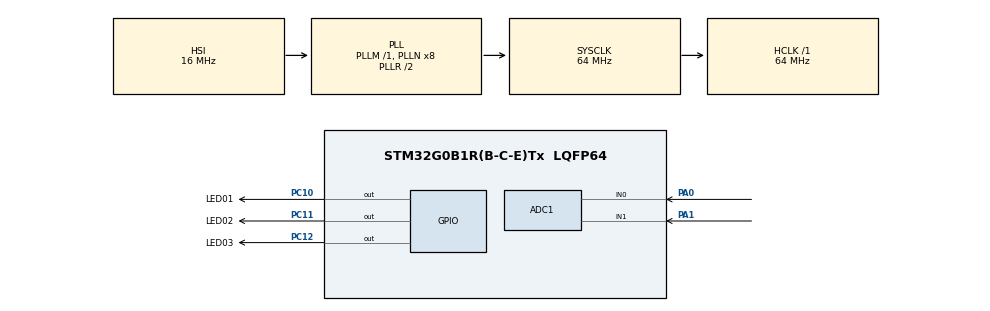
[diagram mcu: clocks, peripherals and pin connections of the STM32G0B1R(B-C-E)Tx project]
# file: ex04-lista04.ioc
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ADC1.Channel-3\#ChannelRegularConversion=ADC_CHANNEL_0
ADC1.Channel-4\#ChannelRegularConversion=ADC_CHANNEL_1
ADC1.EOCSelection=ADC_EOC_SINGLE_CONV
ADC1.NbrOfConversion=2
ADC1.NbrOfConversionFlag=1
ADC1.Rank-3\#ChannelRegularConversion=1
ADC1.Rank-4\#ChannelRegularConversion=2
ADC1.SamplingTime-3\#ChannelRegularConversion=ADC_SAMPLINGTIME_COMMON_1
ADC1.SamplingTime-4\#ChannelRegularConversion=ADC_SAMPLINGTIME_COMMON_1
ADC1.SamplingTimeCommon1=ADC_SAMPLETIME_19CYCLES_5
ADC1.SelectedChannel=ADC_CHANNEL_0|ADC_CHANNEL_1
ADC1.Sequencer=FULLY_CONFIGURABLE
ADC1.master=1
Mcu.Family=STM32G0
Mcu.Name=STM32G0B1R(B-C-E)Tx
Mcu.Package=LQFP64
PA0.Mode=IN0
PA0.Signal=ADC1_IN0
PA1.Mode=IN1
PA1.Signal=ADC1_IN1
PA13.Mode=Serial_Wire
PA13.Signal=SYS_SWDIO
PA14-BOOT0.Mode=Serial_Wire
PA14-BOOT0.Signal=SYS_SWCLK
PC10.GPIO_Label=LED01
PC10.PinState=GPIO_PIN_SET
PC10.Signal=GPIO_Output
PC11.GPIO_Label=LED02
PC11.PinState=GPIO_PIN_SET
PC11.Signal=GPIO_Output
PC12.GPIO_Label=LED03
PC12.PinState=GPIO_PIN_SET
PC12.Signal=GPIO_Output
ProjectManager.HeapSize=0x200
ProjectManager.StackSize=0x400
ProjectManager.TargetToolchain=STM32CubeIDE
RCC.ADCFreq_Value=64000000
RCC.AHBFreq_Value=64000000
RCC.CortexFreq_Value=64000000
RCC.EXTERNAL_CLOCK_VALUE=48000
RCC.HCLKFreq_Value=64000000
RCC.HSE_VALUE=8000000
RCC.HSI48_VALUE=48000000
RCC.HSI_VALUE=16000000
RCC.LSE_VALUE=32768
RCC.SYSCLKFreq_VALUE=64000000
RCC.SYSCLKSource=RCC_SYSCLKSOURCE_PLLCLK
RCC.USBFreq_Value=48000000
RCC.VCOOutputFreq_Value=128000000
VP_SYS_VS_DBSignals.Mode=DisableDeadBatterySignals
board=custom

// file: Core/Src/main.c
/* USER CODE BEGIN Header */
/**
  ******************************************************************************
  * @file           : main.c
  * @brief          : Main program body
  ******************************************************************************
  * @attention
  *
  * Copyright (c) 2022 STMicroelectronics.
  * All rights reserved.
  *
  * This software is licensed under terms that can be found in the LICENSE file
  * in the root directory of this software component.
  * If no LICENSE file comes with this software, it is provided AS-IS.
  *
  ******************************************************************************
  */
/* USER CODE END Header */
#include "main.h"

/* USER CODE BEGIN Includes */
#include <stdint.h>
/* USER CODE END Includes */

ADC_HandleTypeDef hadc1;

void SystemClock_Config(void);
static void MX_GPIO_Init(void);
static void MX_ADC1_Init(void);

/* USER CODE BEGIN 0 */
uint16_t pot, potavg;
uint32_t potsoma;
uint8_t i;
float volt, voltAvg;
/* USER CODE END 0 */

int main(void)
{

  /* MCU Configuration--------------------------------------------------------*/

  /* Reset of all peripherals, Initializes the Flash interface and the Systick. */
  HAL_Init();

  /* Configure the system clock */
  SystemClock_Config();

  /* Initialize all configured peripherals */
  MX_GPIO_Init();
  MX_ADC1_Init();
  /* USER CODE BEGIN 2 */
  potsoma = 0;
  i = 0;
  /* USER CODE END 2 */

  /* Infinite loop */
  /* USER CODE BEGIN WHILE */
  while (1)
  {
	  //iniciando conversão
	  HAL_ADC_Start(&hadc1);

	  //tempo de espera para completar ciclo
	  HAL_ADC_PollForConversion(&hadc1, 1);

	  pot = HAL_ADC_GetValue(&hadc1);

	  //tempo de espera para completar ciclo
	  HAL_ADC_PollForConversion(&hadc1, 1);

	  potsoma += HAL_ADC_GetValue(&hadc1);
	  i++;

	  if (i >= 50)//10
	  {
		  potavg = potsoma/i;
		  voltAvg = 3.3/4095.0 * potavg;
		  i = 0;
		  potsoma = 0;
	  }

	  volt = 3.3 / 4095.0 * pot;

	  if(volt <= 1)
		  HAL_GPIO_WritePin(LED01_GPIO_Port, LED01_Pin, 0);
	  else
		  HAL_GPIO_WritePin(LED01_GPIO_Port, LED01_Pin, 1);
	  if(volt > 1 && volt <3)
		  HAL_GPIO_WritePin(LED02_GPIO_Port, LED02_Pin, 0);
	  else
	 	 HAL_GPIO_WritePin(LED02_GPIO_Port, LED02_Pin, 1);
	  if(volt > 3)
		  HAL_GPIO_WritePin(LED03_GPIO_Port, LED03_Pin, 0);
	  else
		  HAL_GPIO_WritePin(LED03_GPIO_Port, LED03_Pin, 1);

    /* USER CODE END WHILE */

  }
}

void SystemClock_Config(void)
{
  RCC_OscInitTypeDef RCC_OscInitStruct = {0};
  RCC_ClkInitTypeDef RCC_ClkInitStruct = {0};

  /** Configure the main internal regulator output voltage
  */
  HAL_PWREx_ControlVoltageScaling(PWR_REGULATOR_VOLTAGE_SCALE1);
  /** Initializes the RCC Oscillators according to the specified parameters
  * in the RCC_OscInitTypeDef structure.
  */
  RCC_OscInitStruct.OscillatorType = RCC_OSCILLATORTYPE_HSI;
  RCC_OscInitStruct.HSIState = RCC_HSI_ON;
  RCC_OscInitStruct.HSIDiv = RCC_HSI_DIV1;
  RCC_OscInitStruct.HSICalibrationValue = RCC_HSICALIBRATION_DEFAULT;
  RCC_OscInitStruct.PLL.PLLState = RCC_PLL_ON;
  RCC_OscInitStruct.PLL.PLLSource = RCC_PLLSOURCE_HSI;
  RCC_OscInitStruct.PLL.PLLM = RCC_PLLM_DIV1;
  RCC_OscInitStruct.PLL.PLLN = 8;
  RCC_OscInitStruct.PLL.PLLP = RCC_PLLP_DIV2;
  RCC_OscInitStruct.PLL.PLLQ = RCC_PLLQ_DIV2;
  RCC_OscInitStruct.PLL.PLLR = RCC_PLLR_DIV2;
  if (HAL_RCC_OscConfig(&RCC_OscInitStruct) != HAL_OK)
  {
    Error_Handler();
  }
  /** Initializes the CPU, AHB and APB buses clocks
  */
  RCC_ClkInitStruct.ClockType = RCC_CLOCKTYPE_HCLK|RCC_CLOCKTYPE_SYSCLK
                              |RCC_CLOCKTYPE_PCLK1;
  RCC_ClkInitStruct.SYSCLKSource = RCC_SYSCLKSOURCE_PLLCLK;
  RCC_ClkInitStruct.AHBCLKDivider = RCC_SYSCLK_DIV1;
  RCC_ClkInitStruct.APB1CLKDivider = RCC_HCLK_DIV1;

  if (HAL_RCC_ClockConfig(&RCC_ClkInitStruct, FLASH_LATENCY_2) != HAL_OK)
  {
    Error_Handler();
  }
}

static void MX_ADC1_Init(void)
{

  ADC_ChannelConfTypeDef sConfig = {0};

  /** Configure the global features of the ADC (Clock, Resolution, Data Alignment and number of conversion)
  */
  hadc1.Instance = ADC1;
  hadc1.Init.ClockPrescaler = ADC_CLOCK_SYNC_PCLK_DIV2;
  hadc1.Init.Resolution = ADC_RESOLUTION_12B;
  hadc1.Init.DataAlign = ADC_DATAALIGN_RIGHT;
  hadc1.Init.ScanConvMode = ADC_SCAN_ENABLE;
  hadc1.Init.EOCSelection = ADC_EOC_SINGLE_CONV;
  hadc1.Init.LowPowerAutoWait = DISABLE;
  hadc1.Init.LowPowerAutoPowerOff = DISABLE;
  hadc1.Init.ContinuousConvMode = DISABLE;
  hadc1.Init.NbrOfConversion = 2;
  hadc1.Init.DiscontinuousConvMode = DISABLE;
  hadc1.Init.ExternalTrigConv = ADC_SOFTWARE_START;
  hadc1.Init.ExternalTrigConvEdge = ADC_EXTERNALTRIGCONVEDGE_NONE;
  hadc1.Init.DMAContinuousRequests = DISABLE;
  hadc1.Init.Overrun = ADC_OVR_DATA_PRESERVED;
  hadc1.Init.SamplingTimeCommon1 = ADC_SAMPLETIME_19CYCLES_5;
  hadc1.Init.SamplingTimeCommon2 = ADC_SAMPLETIME_1CYCLE_5;
  hadc1.Init.OversamplingMode = DISABLE;
  hadc1.Init.TriggerFrequencyMode = ADC_TRIGGER_FREQ_HIGH;
  if (HAL_ADC_Init(&hadc1) != HAL_OK)
  {
    Error_Handler();
  }
  /** Configure Regular Channel
  */
  sConfig.Channel = ADC_CHANNEL_0;
  sConfig.Rank = ADC_REGULAR_RANK_1;
  sConfig.SamplingTime = ADC_SAMPLINGTIME_COMMON_1;
  if (HAL_ADC_ConfigChannel(&hadc1, &sConfig) != HAL_OK)
  {
    Error_Handler();
  }
  /** Configure Regular Channel
  */
  sConfig.Channel = ADC_CHANNEL_1;
  sConfig.Rank = ADC_REGULAR_RANK_2;
  if (HAL_ADC_ConfigChannel(&hadc1, &sConfig) != HAL_OK)
  {
    Error_Handler();
  }

}

static void MX_GPIO_Init(void)
{
  GPIO_InitTypeDef GPIO_InitStruct = {0};

  /* GPIO Ports Clock Enable */
  __HAL_RCC_GPIOC_CLK_ENABLE();
  __HAL_RCC_GPIOA_CLK_ENABLE();

  /*Configure GPIO pin Output Level */
  HAL_GPIO_WritePin(GPIOC, LED02_Pin|LED03_Pin|LED01_Pin, GPIO_PIN_SET);

  /*Configure GPIO pins : LED02_Pin LED03_Pin LED01_Pin */
  GPIO_InitStruct.Pin = LED02_Pin|LED03_Pin|LED01_Pin;
  GPIO_InitStruct.Mode = GPIO_MODE_OUTPUT_PP;
  GPIO_InitStruct.Pull = GPIO_NOPULL;
  GPIO_InitStruct.Speed = GPIO_SPEED_FREQ_LOW;
  HAL_GPIO_Init(GPIOC, &GPIO_InitStruct);

}

void Error_Handler(void)
{
  __disable_irq();
  while (1)
  {
  }
}
